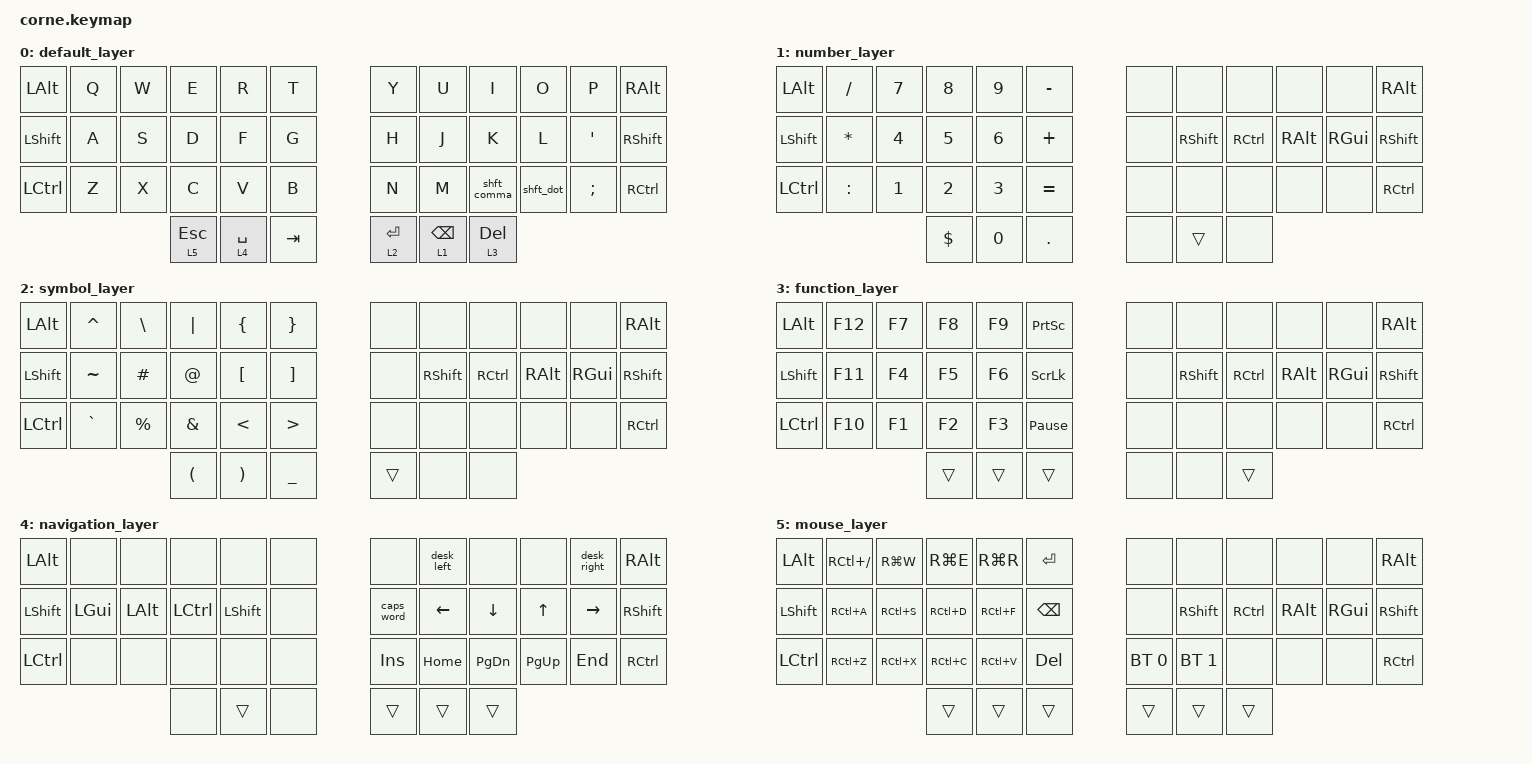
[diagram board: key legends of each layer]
/*
 * Copyright (c) 2020 The ZMK Contributors
 *
 * SPDX-License-Identifier: MIT
 */

#include <behaviors.dtsi>
#include <dt-bindings/zmk/keys.h>
#include <dt-bindings/zmk/bt.h>

/ {
    macros {
        desk_left: desk_left {
            compatible = "zmk,behavior-macro";
            #binding-cells = <0>;
            bindings
                = <&macro_press &kp LCTRL &kp LGUI>
                , <&macro_tap &kp LEFT>
                , <&macro_release &kp LCTRL &kp LGUI>
                ;
        };
        desk_right: desk_right {
            compatible = "zmk,behavior-macro";
            #binding-cells = <0>;
            bindings
                = <&macro_press &kp RCTRL &kp RGUI>
                , <&macro_tap &kp RIGHT>
                , <&macro_release &kp RCTRL &kp RGUI>
                ;
        };
    };

    behaviors {
        shft_dot: shft_dot {
            compatible = "zmk,behavior-mod-morph";
            #binding-cells = <0>;
            bindings = <&kp DOT>, <&kp EXCL>;
            mods = <(MOD_LSFT|MOD_RSFT)>;
        };
        shft_comma: shft_comma {
            compatible = "zmk,behavior-mod-morph";
            #binding-cells = <0>;
            bindings = <&kp COMMA>, <&kp QMARK>;
            mods = <(MOD_LSFT|MOD_RSFT)>;
        };
        
        // This definition is required to fix the "undefined node" error
        caps_word: caps_word {
            compatible = "zmk,behavior-caps-word";
            #binding-cells = <0>;
            continue-list = <UNDERSCORE MINUS BACKSPACE>;
        };
    };

    keymap {
        compatible = "zmk,keymap";

        default_layer {
            bindings = <
    &kp LALT   &kp Q  &kp W  &kp E   &kp R   &kp T   &kp Y       &kp U   &kp I       &kp O       &kp P       &kp RALT
    &kp LSHFT  &kp A  &kp S  &kp D   &kp F   &kp G   &kp H       &kp J   &kp K       &kp L       &kp SQT     &kp RSHFT
    &kp LCTRL  &kp Z  &kp X  &kp C   &kp V   &kp B   &kp N       &kp M   &shft_comma &shft_dot   &kp SEMI    &kp RCTRL
                              &lt 5 ESC      &lt 4 SPACE   &kp TAB      &lt 2 RET   &lt 1 BSPC   &lt 3 DEL
            >;
        };

        number_layer {
            bindings = <
    &kp LALT  &kp FSLH  &kp N7  &kp N8  &kp N9  &kp MINUS  &none  &none      &none      &none      &none      &kp RALT
    &kp LSHFT &kp STAR  &kp N4  &kp N5  &kp N6  &kp PLUS   &none  &kp RSHFT  &kp RCTRL  &kp RALT   &kp RGUI   &kp RSHFT
    &kp LCTRL &kp COLON &kp N1  &kp N2  &kp N3  &kp EQUAL  &none  &none      &none      &none      &none      &kp RCTRL
                                &kp DLLR  &kp N0  &kp DOT    &none  &trans     &none
            >;
        };

        symbol_layer {
            bindings = <
    &kp LALT  &kp CARET  &kp BSLH   &kp PIPE  &kp LBRC   &kp RBRC   &none   &none      &none      &none      &none      &kp RALT
    &kp LSHFT &kp TILDE  &kp HASH   &kp AT    &kp LBKT   &kp RBKT   &none   &kp RSHFT  &kp RCTRL  &kp RALT   &kp RGUI   &kp RSHFT
    &kp LCTRL &kp GRAVE  &kp PRCNT  &kp AMPS  &kp LT     &kp GT     &none   &none      &none      &none      &none      &kp RCTRL
                                    &kp LPAR  &kp RPAR   &kp UNDER  &trans  &none      &none
            >;
        };

        function_layer {
            bindings = <
    &kp LALT  &kp F12  &kp F7  &kp F8  &kp F9   &kp PSCRN        &none   &none      &none      &none      &none      &kp RALT
    &kp LSHFT &kp F11  &kp F4  &kp F5  &kp F6   &kp SLCK         &none   &kp RSHFT  &kp RCTRL  &kp RALT   &kp RGUI   &kp RSHFT
    &kp LCTRL &kp F10  &kp F1  &kp F2  &kp F3   &kp PAUSE_BREAK  &none   &none      &none      &none      &none      &kp RCTRL
                               &trans  &trans   &trans           &none   &none      &trans
            >;
        };

        navigation_layer {
            bindings = <
    &kp LALT   &none     &none     &none      &none      &none   &none       &desk_left  &none      &none     &desk_right  &kp RALT
    &kp LSHFT  &kp LGUI  &kp LALT  &kp LCTRL  &kp LSHFT  &none   &caps_word  &kp LEFT    &kp DOWN   &kp UP    &kp RIGHT    &kp RSHFT
    &kp LCTRL  &none     &none     &none      &none      &none   &kp INS     &kp HOME    &kp PG_DN  &kp PG_UP &kp END      &kp RCTRL
                                   &none      &trans     &none   &trans      &trans      &trans
            >;
        };

        mouse_layer {
            bindings = <
    &kp LALT   &kp RC(FSLH) &kp RG(W)    &kp RG(E)    &kp RG(R)    &kp RET   &none         &none         &none      &none     &none     &kp RALT
    &kp LSHFT  &kp RC(A)    &kp RC(S)    &kp RC(D)    &kp RC(F)    &kp BSPC  &none         &kp RSHFT     &kp RCTRL  &kp RALT  &kp RGUI  &kp RSHFT
    &kp LCTRL  &kp RC(Z)    &kp RC(X)    &kp RC(C)    &kp RC(V)    &kp DEL   &bt BT_SEL 0  &bt BT_SEL 1  &none      &none     &none     &kp RCTRL
                                         &trans       &trans       &trans    &trans        &trans        &trans
            >;
        };
    };
};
